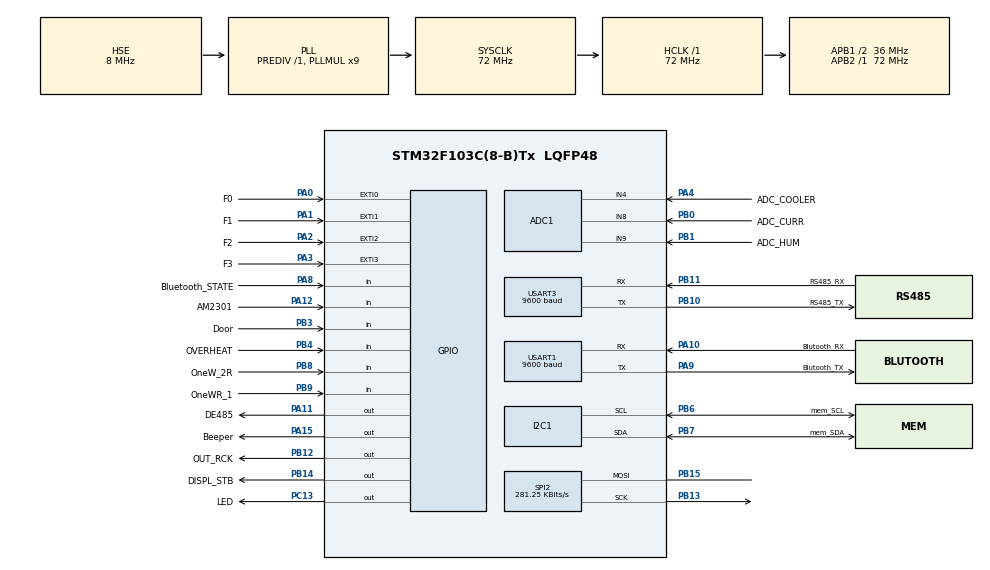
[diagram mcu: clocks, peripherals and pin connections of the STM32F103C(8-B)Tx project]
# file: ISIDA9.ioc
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PA11.GPIO_Speed=GPIO_SPEED_FREQ_MEDIUM
Mcu.Family=STM32F1
NVIC.USART3_IRQn=true\:7\:0\:true\:false\:true\:true\:true
PA2.GPIO_PuPd=GPIO_PULLUP
SPI2.VirtualType=VM_MASTER
PB10.Mode=Asynchronous
PA10.GPIO_PuPd=GPIO_PULLUP
USART1.BaudRate=9600
PB14.GPIO_Label=DISPL_STB
PA3.GPIO_PuPd=GPIO_PULLUP
NVIC.EXTI3_IRQn=true\:0\:0\:true\:false\:true\:true\:true
VP_RTC_VS_RTC_Activate.Mode=RTC_Enabled
PB0.GPIO_Label=ADC_CURR
PB6.GPIO_Label=mem_SCL
PA11.GPIO_PuPd=GPIO_PULLDOWN
PB11.Signal=USART3_RX
PB13.Signal=SPI2_SCK
PB15.Signal=SPI2_MOSI
RCC.SYSCLKSource=RCC_SYSCLKSOURCE_PLLCLK
ProjectManager.StackSize=0x400
PD1-OSC_OUT.Signal=RCC_OSC_OUT
NVIC.RTC_IRQn=true\:0\:0\:false\:false\:true\:true\:true
PA15.GPIO_Label=Beeper
NVIC.EXTI1_IRQn=true\:0\:0\:true\:false\:true\:true\:true
PA12.Signal=GPIO_Input
USART3.BaudRate=9600
ADC1.Channel-5\#ChannelRegularConversion=ADC_CHANNEL_4
ADC1.Channel-3\#ChannelRegularConversion=ADC_CHANNEL_8
RCC.HCLKFreq_Value=72000000
RCC.APB2TimFreq_Value=72000000
TIM3.Period=14
PB6.Signal=I2C1_SCL
Dma.ADC1.0.Direction=DMA_PERIPH_TO_MEMORY
PB12.PinState=GPIO_PIN_RESET
PB6.Mode=I2C
PA1.GPIO_PuPd=GPIO_PULLUP
Dma.ADC1.0.MemDataAlignment=DMA_MDATAALIGN_HALFWORD
RCC.AHBFreq_Value=72000000
SPI2.BaudRatePrescaler=SPI_BAUDRATEPRESCALER_128
RCC.RTCClockSelection=RCC_RTCCLKSOURCE_LSE
RCC.PLLMUL=RCC_PLL_MUL9
PB12.GPIO_Label=OUT_RCK
ADC1.SamplingTime-4\#ChannelRegularConversion=ADC_SAMPLETIME_55CYCLES_5
PB3.GPIO_PuPd=GPIO_PULLUP
PC13-TAMPER-RTC.PinState=GPIO_PIN_SET
PC14-OSC32_IN.Mode=LSE-External-Oscillator
PA14.Mode=Serial_Wire
TIM3.Prescaler=23999
PB1.GPIO_Label=ADC_HUM
Dma.ADC1.0.PeriphInc=DMA_PINC_DISABLE
PA10.GPIO_Label=Blutooth_RX
SH.ADCx_IN8.0=ADC1_IN8,IN8
SPI2.CalculateBaudRate=281.25 KBits/s
PB7.Signal=I2C1_SDA
PA8.Signal=GPIO_Input
TIM4.Period=2999
PC13-TAMPER-RTC.GPIO_Speed=GPIO_SPEED_FREQ_LOW
PB7.GPIO_Label=mem_SDA
Mcu.Package=LQFP48
PB9.Signal=GPIO_Input
PB14.GPIO_PuPd=GPIO_PULLUP
PB1.Signal=ADCx_IN9
SPI2.Mode=SPI_MODE_MASTER
PC13-TAMPER-RTC.GPIO_PuPd=GPIO_NOPULL
PA2.GPIO_Label=F2
PA10.Signal=USART1_RX
PB9.GPIO_PuPd=GPIO_PULLUP
PA15.Signal=GPIO_Output
SH.ADCx_IN9.0=ADC1_IN9,IN9
NVIC.EXTI2_IRQn=true\:0\:0\:true\:false\:true\:true\:true
RCC.APB1TimFreq_Value=72000000
SPI2.Direction=SPI_DIRECTION_1LINE
PB13.Mode=Simplex_Bidirectional_Master
NVIC.USART1_IRQn=true\:6\:0\:true\:false\:true\:true\:true
PA12.GPIO_PuPd=GPIO_PULLUP
Dma.Request0=ADC1
PA4.GPIO_Label=ADC_COOLER
PA1.GPIO_ModeDefaultEXTI=GPIO_MODE_IT_FALLING
VP_TIM3_VS_ClockSourceINT.Mode=Internal
ADC1.Rank-4\#ChannelRegularConversion=2
PB4.Signal=GPIO_Input
PA3.Signal=GPXTI3
PB3.GPIO_Label=Door
RCC.PLLSourceVirtual=RCC_PLLSOURCE_HSE
PC15-OSC32_OUT.Mode=LSE-External-Oscillator
Dma.ADC1.0.Instance=DMA1_Channel1
PD1-OSC_OUT.Mode=HSE-External-Oscillator
PB9.GPIO_Label=OneWR_1
ADC1.Channel-4\#ChannelRegularConversion=ADC_CHANNEL_9
PA10.Mode=Asynchronous
PA9.GPIO_Label=Blutooth_TX
PB8.GPIO_PuPd=GPIO_PULLUP
PB11.GPIO_Label=RS485_RX
PC13-TAMPER-RTC.Signal=GPIO_Output
PA11.GPIO_Label=DE485
PD0-OSC_IN.Signal=RCC_OSC_IN
RCC.APB1CLKDivider=RCC_HCLK_DIV2
PC14-OSC32_IN.Signal=RCC_OSC32_IN
PA0-WKUP.GPIO_ModeDefaultEXTI=GPIO_MODE_IT_FALLING
PA12.GPIO_Label=AM2301
PA0-WKUP.GPIO_Label=F0
PA0-WKUP.Signal=GPXTI0
PA3.GPIO_ModeDefaultEXTI=GPIO_MODE_IT_FALLING
RCC.ADCPresc=RCC_ADCPCLK2_DIV6
PA13.Signal=SYS_JTMS-SWDIO
PB8.GPIO_Label=OneW_2R
Dma.ADC1.0.PeriphDataAlignment=DMA_PDATAALIGN_HALFWORD
PA9.Mode=Asynchronous
PA8.GPIO_Label=Bluetooth_STATE
PB11.Mode=Asynchronous
ProjectManager.TargetToolchain=MDK-ARM V5
PB14.GPIO_Speed=GPIO_SPEED_FREQ_MEDIUM
PB10.GPIO_Label=RS485_TX
Dma.ADC1.0.Mode=DMA_NORMAL
Dma.ADC1.0.Priority=DMA_PRIORITY_LOW
PA9.Signal=USART1_TX
PB4.GPIO_PuPd=GPIO_PULLUP
RCC.USBFreq_Value=72000000
TIM4.Prescaler=23999
PC15-OSC32_OUT.Signal=RCC_OSC32_OUT
PA1.Signal=GPXTI1
PB12.GPIO_Speed=GPIO_SPEED_FREQ_MEDIUM
PD0-OSC_IN.Mode=HSE-External-Oscillator
PB10.Signal=USART3_TX
PB14.Signal=GPIO_Output
board=custom
PC13-TAMPER-RTC.GPIO_Label=LED
PB15.Mode=Simplex_Bidirectional_Master
NVIC.TIM3_IRQn=true\:4\:0\:true\:false\:true\:true\:true
RCC.APB2Freq_Value=72000000
PB4.GPIO_Label=OVERHEAT
PA1.GPIO_Label=F1
SH.ADCx_IN4.0=ADC1_IN4,IN4
ADC1.NbrOfConversion=3
PA13.Mode=Serial_Wire
Mcu.Name=STM32F103C(8-B)Tx
PA2.Signal=GPXTI2
PB3.Signal=GPIO_Input
NVIC.EXTI0_IRQn=true\:0\:0\:false\:false\:true\:true\:true
PA4.Signal=ADCx_IN4
RCC.SYSCLKFreq_VALUE=72000000
ADC1.master=1
ADC1.Rank-3\#ChannelRegularConversion=1
ADC1.SamplingTime-3\#ChannelRegularConversion=ADC_SAMPLETIME_55CYCLES_5
USART3.VirtualMode=VM_ASYNC
SPI2.FirstBit=SPI_FIRSTBIT_LSB
USART1.VirtualMode=VM_ASYNC
PA11.Signal=GPIO_Output
PB7.Mode=I2C
PA14.Signal=SYS_JTCK-SWCLK
Dma.ADC1.0.MemInc=DMA_MINC_ENABLE
ProjectManager.HeapSize=0x200
ADC1.SamplingTime-5\#ChannelRegularConversion=ADC_SAMPLETIME_55CYCLES_5
PA8.GPIO_PuPd=GPIO_PULLDOWN
PA2.GPIO_ModeDefaultEXTI=GPIO_MODE_IT_FALLING
VP_TIM4_VS_ClockSourceINT.Mode=Internal
NVIC.PriorityGroup=NVIC_PRIORITYGROUP_4
ADC1.NbrOfConversionFlag=1
PA15.GPIO_PuPd=GPIO_PULLUP
PB8.Signal=GPIO_Input
PA0-WKUP.GPIO_PuPd=GPIO_PULLUP
NVIC.DMA1_Channel1_IRQn=true\:0\:0\:false\:false\:true\:false\:true
PB12.GPIO_PuPd=GPIO_PULLDOWN
NVIC.TIM4_IRQn=true\:5\:0\:true\:false\:true\:true\:true
PA11.PinState=GPIO_PIN_RESET
RCC.APB1Freq_Value=36000000
PB0.Signal=ADCx_IN8
ADC1.Rank-5\#ChannelRegularConversion=3
PB12.Signal=GPIO_Output
PA3.GPIO_Label=F3

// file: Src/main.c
/* USER CODE BEGIN Header */
/**
  ******************************************************************************
  * @file           : main.c
  * @brief          : Main program body
  ******************************************************************************
  * @attention
  *
  * <h2><center>&copy; Copyright (c) 2019 STMicroelectronics.
  * All rights reserved.</center></h2>
  *
  * This software component is licensed by ST under BSD 3-Clause license,
  * the "License"; You may not use this file except in compliance with the
  * License. You may obtain a copy of the License at:
  *                        opensource.org/licenses/BSD-3-Clause
  *
  ******************************************************************************
  Program Size: Code=43388 RO-data=1844 RW-data=216 ZI-data=3656
  */
/* USER CODE END Header */

#include "main.h"

/* USER CODE BEGIN Includes */
#include <stdlib.h>
#include "proc.h"
#include "module.h"
#include "ds18b20.h"
#include "hih.h"
#include "rtc.h"

//#include "stm32f1xx_hal_adc.h"
/* USER CODE END Includes */

/* USER CODE BEGIN PD */
void bluetoothCallback(void);
/* USER CODE END PD */

ADC_HandleTypeDef hadc1;
DMA_HandleTypeDef hdma_adc1;

I2C_HandleTypeDef hi2c1;

RTC_HandleTypeDef hrtc;

SPI_HandleTypeDef hspi2;

TIM_HandleTypeDef htim3;
TIM_HandleTypeDef htim4;

UART_HandleTypeDef huart1;
UART_HandleTypeDef huart3;

/* USER CODE BEGIN PV */
RTC_TimeTypeDef sTime;
RTC_DateTypeDef sDate;
volatile uint16_t adc[3] = {0,0,0};    // у нас три канала АЦП, поэтому массив из двух элементов
volatile uint8_t flag = 0;             // флаг окончания преобразования АЦП
union Byte fuseOut;
union Byte portOut;
union Byte portFlag;
union d4v crc;
//union d4v file;

extern uint8_t ds18b20_amount, disableBeep, topOwner, topUser, botUser, ok0, ok1, psword, pvAeration;
extern int16_t buf;
extern uint16_t valRun;
extern struct rs485 rs485Data;
extern struct bluetooth bluetoothData;

// -------- ISIDA ------
uint8_t getButton=0, modules=0, setup, servis, waitset, waitkey=WAITCOUNT;
int8_t countsec=-10, countmin, displmode, pouseFuse;
/*
ext[0] модуль Холла
ext[1] модуль ГОРИЗОНТА
ext[2] модуль СО2
ext[3] модуль заслонок
*/
int16_t pwTriac0, pwTriac1, pulsPeriod, beepOn, alarmErr;
uint16_t currAdc, humAdc, coolerAdc, pvCurrent, statPw[2];
uint32_t unixTime;
/* ----------------------------- BEGIN point value -------------------------------------- */
union pointvalue{
  uint8_t pvdata[20];
  struct rampv {
    uint8_t model;       // 1 байт ind=0  модель прибора
    uint8_t node;        // 1 байт ind=1  сетевой номер прибора
    int16_t pvT[MAX_DEVICES]; // 6 байт ind=2-ind=9   значения [MAX_DEVICES=3] датчиков температуры
    uint8_t pvRH;        // 1 байт ind=8  значение датчика относительной влажности
    uint8_t pvCO2;       // 1 байт ind=9  значения датчика CO2 (250*20=5000 / 20*20=400)
    uint8_t nextTurn;    // 1 байт ind=10 значение таймера до начала поворота лотков
    uint8_t fan;         // 1 байт ind=11 скорость вращения тихоходного вентилятора
    uint8_t flap;        // 1 байт ind=12 положение заслонки
    uint8_t power;       // 1 байт ind=13 мощность подаваемая на тены
    uint8_t fuses;       // 1 байт ind=14 короткие замыкания
    uint8_t errors;      // 1 байт ind=15 ошибки
    uint8_t warning;     // 1 байт ind=16 предупреждения
    uint8_t yearMonth;   // 1 байт ind=17 YYMM = 2405
    uint8_t dayHour;     // 1 байт ind=18 DDHH = 2209
    uint8_t minSec;      // 1 байт ind=19 MMSS = 0728
  } pv;// ------------------ ИТОГО 20 bytes -------------------------------
} upv;
struct rampv *p_rampv = &upv.pv;
uint8_t *p_ramdata = upv.pvdata;
/* ----------------------------- BEGIN EEPROM ------------------------------------------- */
union serialdata{
  uint8_t data[EEP_DATA];
  struct eeprom {
    int16_t spT[2];     // 4 байт ind=0-ind=3   Уставка температуры spT[0]->Сухой датчик; spT[1]->Влажный датчик
    //spRH[0]->ПОДСТРОЙКА HIH-5030/AM2301
    //spRH[1]->Уставка влажности Датчик HIH-5030/AM2301 (маска 0111 1111 6,7 бит для разрешения датчика HIH-5030,AM2301);
    int8_t  spRH[2];    // 2 байт ind=4;ind=5
    uint8_t state;      // 1 байт ind=6;        состояние камеры (ОТКЛ. ВКЛ. ОХЛАЖДЕНИЕ, и т.д.)
    uint8_t extendMode; // 1 байт ind=7;        расширенный режим работы  0-СИРЕНА; 1-ВЕНТ. 2-Форс НАГР. 3-Форс ОХЛЖД. 4-Форс ОСУШ. 5-Дубляж увлажнения
    uint8_t relayMode;  // 1 байт ind=8;        релейный режим работы  0-НЕТ; 1->по кан.[0] 2->по кан.[1] 3->по кан.[0]&[1] 4->по кан.[1] импульсный режим
    uint8_t programm;   // 1 байт ind=9;        работа по программе
    uint8_t minRun;     // 1 байт ind=10        импульсное управление насосом увлажнителя
    uint8_t maxRun;     // 1 байт ind=11        импульсное управление насосом увлажнителя
    uint8_t period;     // 1 байт ind=12        импульсное управление насосом увлажнителя
    uint8_t timer[2];   // 2 байт ind=13;ind=14 [0]-отключ.состояниe [1]-включ.состояниe
    uint8_t alarm[2];   // 2 байт ind=15;ind=16 дельта 5 = 0.5 гр.C
    uint8_t extOn[2];   // 2 байт ind=17;ind=18 смещение для ВКЛ. вспомогательного канала
    uint8_t extOff[2];  // 2 байт ind=19;ind=20 смещение для ОТКЛ. вспомогательного канала
    uint8_t air[2];     // 2 байт ind=21;ind=22 таймер проветривания air[0]-пауза; air[1]-работа; если air[1]=0-ОТКЛЮЧЕНО
    uint8_t spCO2;      // 1 байт ind=23;       опорное значение для управления концетрацией СО2
    uint8_t koffCurr;   // 1 байт ind=24;       маштабный коэф. по току симистора  (150 для AC1010)
    uint8_t hysteresis; // 1 байт ind=25;       гистерезис канала увлажнения маска 0x03; разрешение использования HIH-5030 маска 0x40; AM2301 маска 0x80;
    uint8_t zonaFlap;   // 1 байт ind=26;       порог зональности в камере
    uint8_t turnTime;   // 1 байт ind=27;       время ожидания прохода лотков в секундах
    uint8_t waitCooling;// 1 байт ind=28        время ожидания начала режима охлаждения
    uint8_t pkoff[2];   // 2 байт ind=29;ind=30 пропорциональный коэфф.
    uint8_t ikoff[2];   // 2 байт ind=31;ind=32 интегральный коэфф.
    uint8_t identif;    // 1 байт ind=33;       сетевой номер прибора
    uint8_t ip[4];      // 4 байт ind=34;ind=35;ind=36;ind=37; IP MQTT broker [192.168.100.100]
    uint8_t nothing0;   // 1 байт ind=38;       не используется ! YYMM = 2405
    uint8_t nothing1;   // 1 байт ind=39;       не используется ! DDHH = 2209
  } sp;                 // ------------------ ИТОГО 40 bytes -------------------------------
} eep;
struct eeprom *p_eeprom = &eep.sp;
uint8_t *p_eepdata = eep.data;
/* ------------------------------ END EEPROM -------------------------------------------- */
#include "output.h"
#include "displ.h"
void temperature_check(struct rampv *ram);
void am2301_port_init(void);
uint8_t am2301_Start(void);
uint8_t am2301_Read(struct rampv *ram, uint8_t biasHum);
void display(struct eeprom *t, struct rampv *ram);
void display_setup(struct eeprom *t);
void display_servis(struct rampv *ram);
void displ_3(int16_t val, int8_t mode, int8_t blink);
void rotate_trays(uint8_t timer0, uint8_t timer1, struct rampv *ram);
uint8_t sethorizon(uint8_t timer0, uint8_t turnTime, struct rampv *ram);
int8_t chkflap(uint8_t cmd, uint8_t *pvF);
uint8_t readCO2(struct rampv *ram);
//------
void saveservis(struct eeprom *t);
void saveset(struct eeprom *t);
uint8_t reset(uint16_t memAddr, uint8_t *data);
//void checkkey(struct eeprom *t, int16_t pvT0);
void checkkey(struct eeprom *t, struct rampv *ram);
//void pushkey(void);
void chkdoor(struct eeprom *t, struct rampv *ram);
void init(struct eeprom *t, struct rampv *ram);
/* USER CODE END PV */

void SystemClock_Config(void);
static void MX_GPIO_Init(void);
static void MX_DMA_Init(void);
static void MX_I2C1_Init(void);
static void MX_ADC1_Init(void);
static void MX_TIM3_Init(void);
static void MX_TIM4_Init(void);
static void MX_SPI2_Init(void);
static void MX_USART1_UART_Init(void);
static void MX_RTC_Init(void);
static void MX_USART3_UART_Init(void);
/* USER CODE BEGIN PFP */
void rs485Callback(uint8_t *p_ramdata, uint8_t *p_eepdata);
uint8_t SD_write (const char* flname, struct eeprom *t, struct rampv *ram);
uint8_t bluetoothName(uint8_t number);
/* USER CODE END PFP */

/* USER CODE BEGIN 0 */
// Функция обратного вызова обработки прерывания EXTI Line9 External Interrupt
//void HAL_GPIO_EXTI_Callback(uint16_t GPIO_Pin){
//  switch (GPIO_Pin){
//   	case GPIO_PIN_0: upv.pv.fuses |= 0x01; HUMIDI = OFF; break;// PA0 - OUT2 увлажнитель
//   	case GPIO_PIN_1: upv.pv.fuses |= 0x02; FLAP = OFF;   break;// PA1 - OUT3 вентиляция
//   	case GPIO_PIN_2: upv.pv.fuses |= 0x04; EXTRA = OFF;  break;// PA2 - OUT4 вспомогательны канал 2
//   	case GPIO_PIN_3: upv.pv.fuses |= 0x08; TURN = OFF;   break;// PA3 - OUT5 поворот
//   }
//  set_Output();
//}
/* USER CODE END 0 */

int main(void)
{
  /* USER CODE BEGIN 1 */
  int8_t tmpbyte;
  /* USER CODE END 1 */

  /* MCU Configuration--------------------------------------------------------*/

  /* Reset of all peripherals, Initializes the Flash interface and the Systick. */
  HAL_Init();

  /* USER CODE BEGIN Init */
  sysTick_Init();   // устанавливает значение SysTick Reload Register (LOAD) для генерации прерывания каждую миллисекунду (1mS)

  portOut.value = 0;
  portFlag.value = 0;
  topOwner=MAXOWNER;
  topUser=TOPUSER;
  botUser=BOTUSER;
  CHECK = 1;
  /* USER CODE END Init */

  /* Configure the system clock */
  SystemClock_Config();

  /* Initialize all configured peripherals */
  MX_GPIO_Init();
  MX_DMA_Init();
  MX_I2C1_Init();
  MX_ADC1_Init();
  MX_TIM3_Init();
  MX_TIM4_Init();
  MX_SPI2_Init();
  MX_USART1_UART_Init();
  MX_RTC_Init();
  MX_USART3_UART_Init();
  /* USER CODE BEGIN 2 */
  COOLER = 1;     // включить вентилятор
  set_Output();   // запись в микросхему 74HC595D
	HAL_TIM_Base_Start_IT(&htim4);	/* ------  таймер 1Гц.   период 1000 мс.  ----*/
	HAL_TIM_Base_Start_IT(&htim3);	/* ------  таймер 200Гц.  период 5 мс.  --таймер 10Гц.  период 100 мс.--*/
  HAL_ADCEx_Calibration_Start(&hadc1);            // калибровкa АЦП
  HAL_UART_Receive_IT(&huart1,(uint8_t*)bluetoothData.RXBuffer,2);
  HAL_GPIO_WritePin(LED_GPIO_Port, LED_Pin, GPIO_PIN_SET);  // LED Off
  //--------- ХОЛОСТОЕ ВЫПОЛНЕНИЕ при котором каналы распологаются правильно --------
//  HAL_ADC_Start_DMA(&hadc1, (uint32_t*)&adc, 3);  // стартуем АЦП
//  while(flag==0);
//  flag = 0;
  //----------- Теперь каналы сдвинуты. Последний стал первым -----------------------
  HAL_ADC_Start_DMA(&hadc1, (uint32_t*)&adc, 3);  // стартуем АЦП
  while(flag==0);
  flag = 0;
  currAdc = adc[0]; humAdc = adc[1]; coolerAdc = adc[2];
  adc[0] = 0; adc[1] = 0;
  //******************************************************************************
  HAL_RTC_WaitForSynchro(&hrtc);                      // Після увімкнення, пробудження, скидання, потрібно викликати цю функцію
  if(HAL_RTCEx_BKUPRead(&hrtc,RTC_BKP_DR1) == 0){     // Перевіряємо чи дата вже була збережена чи ні
   // як ні, то задамо якусь початкову дату і час
    setDataAndTime(24,RTC_MONTH_JUNE,0x01,RTC_WEEKDAY_SATURDAY,0,0,0,RTC_FORMAT_BIN);//2024,RTC_MONTH_JUNE,01,RTC_WEEKDAY_SATURDAY  00:00:00
    writeDateToBackup(RTC_BKP_DR1);       // і запишемо до backup регістрів дату
  }
  else {
    readBackupToDate(RTC_BKP_DR1);        // выполним коррекцию даты
    writeDateToBackup(RTC_BKP_DR1);       // сохраним обновленную дату
  }
  HAL_RTCEx_SetSecond_IT(&hrtc);          // Sets Interrupt for second
  HAL_RTC_GetTime(&hrtc, &sTime, RTC_FORMAT_BIN);
  HAL_RTC_GetDate(&hrtc, &sDate, RTC_FORMAT_BIN);
  //******************************************************************************
  for(int8_t i=0;i<8;i++) {setChar(i,SIMBL_BL); PointOn(i); LedOn(i,3);}// "BL"+точки
  SendDataTM1638();
  SendCmdTM1638(0x8F);  // Transmit the display control command to set maximum brightness (8FH)
  //---- проверка EEPROM ---------------
  tmpbyte = eep_read(0x0000, eep.data);
  if(tmpbyte){              // бесконечный цикл НЕИСПРАВНА EEPROM "EEP-x" (HAL_ERROR=0x01U, HAL_BUSY=0x02U, HAL_TIMEOUT=0x03U)
      while(1){
          HAL_GPIO_WritePin(Beeper_GPIO_Port, Beeper_Pin, GPIO_PIN_SET);    // Beeper On
          HAL_Delay(200);
          HAL_GPIO_WritePin(Beeper_GPIO_Port, Beeper_Pin, GPIO_PIN_RESET);  // Beeper Off
          HAL_Delay(200);
      }
  }
  // *** -------- сброс к заводским настройкам ------------- ***
  if(eep.sp.identif>63) eep.sp.identif = 0;
  if (eep.sp.identif == 0) eep_initial(0x0000, eep.data);

  init(&eep.sp, &upv.pv);   // инициализация аппаратной части и подключаемых модулей
  temperature_check(&upv.pv);
  upv.pv.pvT[0] = eep.sp.spT[0]-10;//?????????????????????????????????????????????????????
  upv.pv.pvT[1] = eep.sp.spT[1]-10;//?????????????????????????????????????????????????????
  crc.data[2] = 0x0D; crc.data[3] = 0x0A; // "[0x0D]->\r=<CR>; [0x0A]->\n=<LF>"
  /* USER CODE END 2 */

  /* Infinite loop */
  /* USER CODE BEGIN WHILE */
  getButton = waitkey/4;
  upv.pv.fuses = fuseOut.value = 0;
	while (1){
  //----------------------------------- Теперь будем опрашивать три канала на одном АЦП с помощью DMA… -------------------------------------------

  /*** ------------------------------------------- BEGIN таймер TIM3 6 Гц. ----------------------------------------------------------------------- ***/
      if (getButton>waitkey/4) checkkey(&eep.sp, &upv.pv);  // клавиатура waitkey=WAITCOUNT=16 максимальная пауза перед реакцией на кнопку

  /*** ------------------------------------------- BEGIN таймер TIM4 1 Гц. ----------------------------------------------------------------------- ***/
      if(CHECK){   // ------- новая секунда --------------------------------------------------------------
        CHECK=0; DISPLAY=1; ALARM=0; upv.pv.errors=0; upv.pv.warning=0;
//        if(upv.pv.fuses){
//          if(++pouseFuse>2){pouseFuse = upv.pv.fuses = fuseOut.value = 0;}
//        }
        HAL_ADC_Start_DMA(&hadc1, (uint32_t*)&adc, 3);
        while(flag==0);
        flag = 0;
        currAdc = adcTomV(adc[0]);      // Channel 8 (Port B0) в мВ.
        humAdc  = adcTomV(adc[1]);      // Channel 9 (Port B1) в мВ.
//        if(HIH5030) humAdc  = adcTomV(adc[1]);// Channel 9 (Port B1) в мВ.
        coolerAdc = adcTomV(adc[2]/10); // Channel 4 (Port A4) в 1550мВ./10 = 155 единиц

        adc[0] = 0; adc[1] = 0; adc[2] = 0;

    //-------------------- перевіримо чи настав інший день ------------
        if (((sTime.Hours+sTime.Minutes+sTime.Seconds)<=4)){
          writeDateToBackup(RTC_BKP_DR1);             // сохраним обновленную дату
        }
    //-------------------- температура и влажность --------------------

//        temperature_check(&upv.pv);
        if(AM2301) am2301_Read(&upv.pv, eep.sp.spRH[0]);
        else if(HIH5030){
           if(humAdc > 500){                                                // humAdc = 500 mV для RH=0%
              upv.pv.pvRH = mVToRH(humAdc, eep.sp.spRH[0], upv.pv.pvT[0]);  // расчет относительной влажности % (мВ.,коррекция,температура)
           }
           else upv.pv.pvRH = 200;
        }
        else upv.pv.pvRH = 0;
    //-------------------- Состояние дверей; "подгототка к ОХЛАЖДЕНИЮ"; "подгототка к ВКЛЮЧЕНИЮ" --
        chkdoor(&eep.sp, &upv.pv);
        if((eep.sp.state&0x18)==0x08) eep.sp.state|= sethorizon(eep.sp.timer[0], eep.sp.turnTime, &upv.pv);  // Установка в горизонтальное положение
    //-------------------- Опрос модулей расширения -------------------
        if(modules&1) {
          tmpbyte = chkcooler(eep.sp.state);
          if(tmpbyte<0) upv.pv.errors |= 0x40;        // Отказ модуля Холла
          else if(tmpbyte>0) upv.pv.warning |= 0x20;  // ОСТАНОВ тихоходного вентилятора
        }
        if(modules&2) {
          tmpbyte = chkhorizon(eep.sp.state);
          if(tmpbyte<0) upv.pv.errors |= 0x40; // Отказ модуля ГОРИЗОНТ
          else if(tmpbyte>0) upv.pv.warning |= 0x40;  // НЕТ ПОВОРОТА лотков
        }
        if(modules&4) {
          tmpbyte = readCO2(&upv.pv);
          if(tmpbyte<0) upv.pv.errors |= 0x20;        // Отказ модуля CO2
        }
        if(modules&8) {
          tmpbyte = chkflap(0,&upv.pv.flap);
          if(tmpbyte<0) upv.pv.errors |= 0x20;        // Отказ модуля заслонок
        }
    //-------------------- КАМЕРА ВКЛЮЧЕНА в работу -------------------
        if (eep.sp.state&1){
      // ---------------------- НАГРЕВАТЕЛЬ --------------------------------
          if(HAL_GPIO_ReadPin(OVERHEAT_GPIO_Port, OVERHEAT_Pin)==GPIO_PIN_RESET) upv.pv.errors |= 0x10;  // ПЕРЕГРЕВ СИМИСТОРА !!!
          else if((upv.pv.warning&0x20)==0){    // НЕТ ОСТАНОВА тихоходного вентилятора !!!
            if(upv.pv.pvT[0] < 850){
              int16_t err = eep.sp.spT[0] - upv.pv.pvT[0];
              if(heatCondition(err, eep.sp.alarm[0])) upv.pv.warning |= 0x01;  // ОТКЛОНЕНИЕ по температуре
              pwTriac0 = heater(err, &eep.sp);
              if(pwTriac0) {HEATER = 1; /*set_Pulse(250);*/}  // HEATER On  32 mks
            }
            else upv.pv.errors |= 0x01;   // ОШИБКА ДАТЧИКА температуры !!!
          }
          upv.pv.power = pwTriac0 / 2;
          if(upv.pv.power > 100) upv.pv.power = 100;
          statPw[0] += upv.pv.power;      // расчет эконометра
      // ---------------------- УВЛАЖНИТЕЛЬ --------------------------------
          if(ok0&1){  // запрещение УВЛАЖНЕНИЯ при РАЗОГРЕВЕ и ПЕРЕОХЛАЖДЕНИИ
            int16_t err;
            if(HIH5030||AM2301){  // подключен электронный датчик влажности
              err = eep.sp.spRH[1] - upv.pv.pvRH;
              pwTriac1 = humidifier(err, &eep.sp);
            }
            else {
              if(upv.pv.pvT[1] < 850){
              err = eep.sp.spT[1] - upv.pv.pvT[1];
              pwTriac1 = humidifier(err, &eep.sp);
              }
              else {upv.pv.errors |= 0x02; pwTriac1 = 0;}   // ОШИБКА ДАТЧИКА влажности !!!
            }
            if(humCondition(err, eep.sp.alarm[1])) upv.pv.warning |= 0x02; // ОТКЛОНЕНИЕ по влажности
            if(pwTriac1 && FUSE0==0) HUMIDI = 1;  // HUMIDIFIER On
            tmpbyte = pwTriac1 / 2;
            if(tmpbyte > 100) tmpbyte = 100;
            statPw[1] += tmpbyte;         // расчет эконометра
          }
      // ---------------------- ОХЛАЖДЕНИЕ ---------------------------------
          if(upv.pv.warning&0x20) tmpbyte = ON;     // ОСТАНОВ тихоходного вентилятора
          else {
            if(upv.pv.pvT[0] < 850){
              int16_t err = upv.pv.pvT[0] - eep.sp.spT[0];
              if(err>=eep.sp.extOff[0]) tmpbyte = ON; else if(err<=0) tmpbyte = OFF; // при err >=0.2грд. -> ON; при err <=0грд. -> OFF;
            }
            else upv.pv.errors |= 0x01;             // ОШИБКА ДАТЧИКА температуры! (код 51, 53)
          }
          if(FUSE1&0x02) tmpbyte = OFF;      // ПРЕДОХРАНИТЕЛЬ доп. канал №1
          switch (tmpbyte){
            case ON:  FLAP = ON;  upv.pv.flap = eep.sp.zonaFlap&0x3F+37;  if(modules&8) chkflap(SETFLAP,  &upv.pv.flap); break;// установка заслонки zonaFlap&0x3F=63+37=100%
            case OFF: FLAP = OFF; upv.pv.flap = FLAPCLOSE; if(modules&8) chkflap(DATAREAD, &upv.pv.flap); break;// установка заслонки; сброс флага запрещения принудительной подачи воды
          }
      //----------------------- ЗОНАЛЬНОСТЬ температуры камеры -------------
          if(ok0){
            uint8_t zonality;
            zonality = eep.sp.zonaFlap>>6;
            if(HIH5030||AM2301) {if(ds18b20_amount>1) {if(abs(upv.pv.pvT[0]-upv.pv.pvT[1])>zonality) upv.pv.warning |=0x08;}} // Большой перепад температур. (код 30)
            else {if(ds18b20_amount>2) {if(abs(upv.pv.pvT[0]-upv.pv.pvT[2])>zonality) upv.pv.warning |=0x08;}};// Большой перепад температур. (код 30)
          }
          if(!(HIH5030||AM2301) && (upv.pv.pvT[1]-upv.pv.pvT[0])>20){
            if(upv.pv.pvT[1] < 850){
              upv.pv.warning =0x10;               // Неправильная конфигурация датчиков! (код 38, 40)
              pwTriac0 = 100; upv.pv.power = 50;  // Мощность ограничена 50%
            }
            else upv.pv.errors |= 0x02;           // ОШИБКА ДАТЧИКА влажности! (код 52, 53)
          }
      //----------------------- ПОВОРОТ ЛОТКОВ Статистика камеры -----------
          if(eep.sp.koffCurr){
          // конверсия mV в mA ->100mV/1A+1.65V. (5A->0.5+1.65=2.15; 10A->2.65; 20A->3.65) добавляем делитель 110k/68k на 2,65 и получаем 10А = 1В = 1000 мВ
            pvCurrent = currAdc/10 * eep.sp.koffCurr; pvCurrent /= 100;
            if(upv.pv.power==100 && countsec>=0 && currAdc<100) upv.pv.errors|=0x08;  // если ток < 1,0 А. -> НЕИСПРАВНА цепь НАГРЕВАТЕЛЯ
          }
          else currAdc = 0;
          // АНАЛИЗ УХУДШЕНИЯ АВАРИЙНОЙ СИТУАЦИИ (важно в этом месте после анализа мощности)
          int16_t newErr = abs(eep.sp.spT[0]-upv.pv.pvT[0]);
          if((upv.pv.warning & 3)&&(newErr-alarmErr)>2) disableBeep=0;  // если при блокироке сирены продолжает увеличиватся ошибка сброс блокировки
          if(countsec>59){
            ++countmin; countsec=0; if (disableBeep) disableBeep--;
            if(!(eep.sp.state&0x18)) rotate_trays(eep.sp.timer[0], eep.sp.timer[1], &upv.pv);   // выполняется только если Камера ВКЛ.
            if(upv.pv.pvCO2>0) CO2_check(eep.sp.spCO2, eep.sp.spCO2, upv.pv.pvCO2);             // Проверка концентрации СО2
            else if(eep.sp.air[1]>0) aeration_check(eep.sp.air[0], eep.sp.air[1]);              // Проветривание выполняется только если air[1]>0
            statPw[0]/=60; statPw[1]/=60;     // расчет затрат ресурсов
//              upv.pv.cost0=statF2(0, statPw[0]); upv.pv.cost1=statF2(1, statPw[1]); // расчет затрат ресурсов
            statPw[0]=0; statPw[1]=0;         // расчет затрат ресурсов
            if(countmin>59){
              countmin = 0; /*upv.pv.date = sDate.Date; upv.pv.hours = sTime.Hours;*/
//                eep.sp.EnergyMeter += (summPower/100);// суммируем в Вт.
//              EEPSAVE=1; waitset=1;
            }
          }
      // ---------------------- ВСПОМОГАТЕЛЬНЫЙ ----------------------------
          tmpbyte = extra_2(&eep.sp, &upv.pv);
          if(FUSE2&0x04) tmpbyte = OFF;      // ПРЕДОХРАНИТЕЛЬ доп. канал №2
          switch (tmpbyte){
              case ON:  EXTRA = ON;  break;
              case OFF: EXTRA = OFF; break;
          }
        }
    //--------------------- КАМЕРА ОТКЛЮЧЕНА ---------------------------
        else if((eep.sp.state&7)==0){
            if(eep.sp.relayMode==4) valRun = 0;                                         // ОТКЛЮЧИТЬ импульсное управление увлажнителем
            if(servis){                                                                 // включен СЕРВИСНЫЙ режим
              switch (servis){
                 case 1: pwTriac0=MAXPULS; portOut.value = 0x01; break;                 // НАГРЕВАТЕЛЬ
                 case 2: pwTriac1=MAXPULS; portOut.value = 0x02; break;                 // УВЛАЖНИТЕЛЬ
                 case 3: portOut.value = 0x04; upv.pv.flap = eep.sp.zonaFlap&0x3F+37;   //zonaFlap&0x3F=63+37=100%
                         if(modules&8) chkflap(SETFLAP, &upv.pv.flap); break;           // ПРОВЕТРИВАНИЕ, СЕРВОПРИВОД 90грд.
                 case 4: portOut.value = 0x08; break;                                   // ДОПОЛНИТЕЛЬНЫЙ КАНАЛ
                 case 5: portOut.value = 0x10; break;                                   // ЛОТКИ ВВЕРХ
                 default: portOut.value = 0; upv.pv.flap=FLAPCLOSE;
                          if(modules&8) chkflap(DATAREAD, &upv.pv.flap);// ВСЕ ОТКЛЮЧЕНО, СЕРВОПРИВОД 0грд.
              }
            }
            else {
               upv.pv.power=OFF; portOut.value &= 0x10; upv.pv.flap=FLAPCLOSE; if(modules&8) chkflap(DATAREAD, &upv.pv.flap); VENTIL = OFF;
               if(currAdc>1000){upv.pv.errors|=0x04;}   // если сила тока > 1000 mV ПРОБОЙ СИМИСТОРА!
               if(countsec>59){
                countsec=0;
                if(eep.sp.state&0x80) rotate_trays(eep.sp.timer[0], eep.sp.timer[1], &upv.pv); // Поворот лотков при ОТКЛЮЧЕННОЙ камере
               }
            }
        }
    //--------------------- если нужно сохраняем установки -------------
        if(waitset){
          if(--waitset==0){
            if(EEPSAVE){
              eep_write(0x0000, eep.data, EEP_DATA);    // запись в энергонезависимую память
            }
            if(servis==7){upv.pv.node = eep.sp.identif; bluetoothName(eep.sp.identif);}   // коррекция Broadcast name
            servis=0;setup=0;displmode=0;psword=0;buf=0;topUser=TOPUSER;botUser=BOTUSER;} // возвращяемся к основному экрану, сброс пароля
        }
        if(TURN && eep.sp.timer[1]){if(--upv.pv.nextTurn==0) { upv.pv.nextTurn=eep.sp.timer[0]; TURN = OFF;}} // только при sp[1].timer>0 -> асиметричный режим

          unixTime = timestamp(); //  персчет в unixTime
    // -------------------- Bluetooth ----------------------------------
        if(HAL_GPIO_ReadPin(Bluetooth_STATE_GPIO_Port, Bluetooth_STATE_Pin)){ // если есть подключение по Bluetooth
          crc.val[0] = 0;
          for(uint8_t i=0;i<20;i++){
            crc.val[0] += upv.pvdata[i];
            crc.val[0] ^= (crc.val[0]>>2);
          }
          for(uint8_t i=0;i<40;i++){
            crc.val[0] += eep.data[i];
            crc.val[0] ^= (crc.val[0]>>2);
          }
          HAL_UART_Transmit(&huart1,(uint8_t*)upv.pvdata,20,0x1000);// отправка upv
          HAL_UART_Transmit(&huart1,(uint8_t*)eep.data,40,0x1000);  // отправка eep
          HAL_UART_Transmit(&huart1,(uint8_t*)crc.data,4,0x1000);   // отправка crc, "\r=<CR>, \n=<LF>"
        }
      }
  /*** ============================================= END таймер TIM4 1 Гц. ==================================================================== ***/

  /*** --------------------------------------------------- ИНДИКАЦИЯ -------------------------------------------------------------------------- ***/
      if(DISPLAY){
        DISPLAY = 0;
        upv.pv.fuses = fuseOut.value;
        if(setup) display_setup(&eep.sp);
        else if(servis) display_servis(&upv.pv);
        else display(&eep.sp, &upv.pv);
        ledOut(eep.sp.state, upv.pv.warning, upv.pv.fuses, eep.sp.programm); SendDataTM1638(); set_Output(); // запись в микросхемы TM1638 и 74HC595D
      }
  /*** ======================================================================================================================================== ***/
    /* USER CODE END WHILE */

    /* USER CODE BEGIN 3 */
      if(coolerAdc < 250) COOLER=0; else if(coolerAdc > 300) COOLER = 1;  // температура 40С = 2,50V; 55C = 3.0V
      if(pwTriac0 < 0) {pwTriac0=0; HEATER = 0; ALLOFF = 1; /*set_Pulse(500);*/}  // HEATER Off  64 mks // ALLOFF = 1 для быстрого отключения светодиодов pwTriac0
      if(pwTriac1 < 0) {pwTriac1=0; HUMIDI = 0; ALLOFF = 1;}  // HUMIDIFIER Off // ALLOFF = 1 для быстрого отключения светодиодов pwTriac1
      if(eep.sp.relayMode==4){                                 // импульсный режим работы насоса
        if(pulsPeriod < 0){
          pulsPeriod = eep.sp.period;
          if(pwTriac1 && (upv.pv.fuses&0x01)==0) {pwTriac1=valRun; HUMIDI = 1; ALLOFF = 1;}  // HUMIDIFIER On // ALLOFF = 1 для быстрого отключения светодиодов pwTriac1
        }
      }
      // ALLOFF = 1 для быстрого отключения светодиодов pwTriac0, pwTriac1
      if(ALLOFF) {set_Output(); ALLOFF = 0; ledOut(eep.sp.state, upv.pv.warning, upv.pv.fuses, eep.sp.programm); SendDataTM1638();}  // запись в микросхемы TM1638 и 74HC595D
      if(beepOn < 0) {beepOn=0; HAL_GPIO_WritePin(Beeper_GPIO_Port, Beeper_Pin, GPIO_PIN_RESET);}  // Beeper Off
  /* ------------------------------------------------------------------------------------------------------------------ */
      if(bluetoothData.ind == 0){
        bluetoothData.timeOut=0;
        HAL_UART_Receive_IT(&huart1,(uint8_t*)bluetoothData.RXBuffer,2); // запуск приема (100 байт при 9600 b/s Время передачи данных 0,1 сек.)
      }
      else if(bluetoothData.timeOut > 5) {
        // ошибка таймаута больше 500 mS.
        HAL_UART_AbortReceive_IT(&huart1); // остановка приема (https://www.translatorscafe.com/unit-converter/ru-RU/calculator/data-transfer-time/)
        bluetoothData.ind = 0; // признак ожидание первого байта
        bluetoothData.timeOut = 0;
      }
  // ---------------------------- RS485 -----------------------------
      if(rs485Data.timeOut > 40){ // 200 mS
        rs485Data.ind = 0; // признак ожидание первого байта
        rs485Data.timeOut=0;
        HAL_UART_Receive_IT(&huart3,(uint8_t*)rs485Data.RXBuffer,16); // запуск приема 16 byte (96 байт при 9600 b/s Время передачи данных 0,101 сек.)
      }
  /* ================================================================================================================== */

      if(bluetoothData.ind == 0){
        bluetoothData.timeOut=0;
        HAL_UART_Receive_IT(&huart1,(uint8_t*)bluetoothData.RXBuffer,2); // запуск приема
      }
      else if(bluetoothData.timeOut >= 10) {
        // ошибка таймаута больше 10 mS.
        HAL_UART_AbortReceive_IT(&huart1); // остановка приема
        bluetoothData.ind = 0; // признак ожидание первого байта
        bluetoothData.timeOut = 0;
//        HAL_UART_Receive_IT(&huart1,(uint8_t*)bluetoothData.RXBuffer,2); // запуск приема
      }
	} // ---------------------------------- END while (1) ------------------------------------------------------------------------------------------
  /* USER CODE END 3 */
}

void SystemClock_Config(void)
{
  RCC_OscInitTypeDef RCC_OscInitStruct = {0};
  RCC_ClkInitTypeDef RCC_ClkInitStruct = {0};
  RCC_PeriphCLKInitTypeDef PeriphClkInit = {0};

  /** Initializes the CPU, AHB and APB busses clocks
  */
  RCC_OscInitStruct.OscillatorType = RCC_OSCILLATORTYPE_HSE|RCC_OSCILLATORTYPE_LSE;
  RCC_OscInitStruct.HSEState = RCC_HSE_ON;
  RCC_OscInitStruct.HSEPredivValue = RCC_HSE_PREDIV_DIV1;
  RCC_OscInitStruct.LSEState = RCC_LSE_ON;
  RCC_OscInitStruct.HSIState = RCC_HSI_ON;
  RCC_OscInitStruct.PLL.PLLState = RCC_PLL_ON;
  RCC_OscInitStruct.PLL.PLLSource = RCC_PLLSOURCE_HSE;
  RCC_OscInitStruct.PLL.PLLMUL = RCC_PLL_MUL9;
  if (HAL_RCC_OscConfig(&RCC_OscInitStruct) != HAL_OK)
  {
    Error_Handler();
  }
  /** Initializes the CPU, AHB and APB busses clocks
  */
  RCC_ClkInitStruct.ClockType = RCC_CLOCKTYPE_HCLK|RCC_CLOCKTYPE_SYSCLK
                              |RCC_CLOCKTYPE_PCLK1|RCC_CLOCKTYPE_PCLK2;
  RCC_ClkInitStruct.SYSCLKSource = RCC_SYSCLKSOURCE_PLLCLK;
  RCC_ClkInitStruct.AHBCLKDivider = RCC_SYSCLK_DIV1;
  RCC_ClkInitStruct.APB1CLKDivider = RCC_HCLK_DIV2;
  RCC_ClkInitStruct.APB2CLKDivider = RCC_HCLK_DIV1;

  if (HAL_RCC_ClockConfig(&RCC_ClkInitStruct, FLASH_LATENCY_2) != HAL_OK)
  {
    Error_Handler();
  }
  PeriphClkInit.PeriphClockSelection = RCC_PERIPHCLK_RTC|RCC_PERIPHCLK_ADC;
  PeriphClkInit.RTCClockSelection = RCC_RTCCLKSOURCE_LSE;
  PeriphClkInit.AdcClockSelection = RCC_ADCPCLK2_DIV6;
  if (HAL_RCCEx_PeriphCLKConfig(&PeriphClkInit) != HAL_OK)
  {
    Error_Handler();
  }
}

static void MX_ADC1_Init(void)
{

  ADC_ChannelConfTypeDef sConfig = {0};

  /** Common config
  */
  hadc1.Instance = ADC1;
  hadc1.Init.ScanConvMode = ADC_SCAN_ENABLE;
  hadc1.Init.ContinuousConvMode = DISABLE;
  hadc1.Init.DiscontinuousConvMode = DISABLE;
  hadc1.Init.ExternalTrigConv = ADC_SOFTWARE_START;
  hadc1.Init.DataAlign = ADC_DATAALIGN_RIGHT;
  hadc1.Init.NbrOfConversion = 3;
  if (HAL_ADC_Init(&hadc1) != HAL_OK)
  {
    Error_Handler();
  }
  /** Configure Regular Channel
  */
  sConfig.Channel = ADC_CHANNEL_8;
  sConfig.Rank = ADC_REGULAR_RANK_1;
  sConfig.SamplingTime = ADC_SAMPLETIME_55CYCLES_5;
  if (HAL_ADC_ConfigChannel(&hadc1, &sConfig) != HAL_OK)
  {
    Error_Handler();
  }
  /** Configure Regular Channel
  */
  sConfig.Channel = ADC_CHANNEL_9;
  sConfig.Rank = ADC_REGULAR_RANK_2;
  if (HAL_ADC_ConfigChannel(&hadc1, &sConfig) != HAL_OK)
  {
    Error_Handler();
  }
  /** Configure Regular Channel
  */
  sConfig.Channel = ADC_CHANNEL_4;
  sConfig.Rank = ADC_REGULAR_RANK_3;
  if (HAL_ADC_ConfigChannel(&hadc1, &sConfig) != HAL_OK)
  {
    Error_Handler();
  }

}

static void MX_I2C1_Init(void)
{

  hi2c1.Instance = I2C1;
  hi2c1.Init.ClockSpeed = 100000;
  hi2c1.Init.DutyCycle = I2C_DUTYCYCLE_2;
  hi2c1.Init.OwnAddress1 = 0;
  hi2c1.Init.AddressingMode = I2C_ADDRESSINGMODE_7BIT;
  hi2c1.Init.DualAddressMode = I2C_DUALADDRESS_DISABLE;
  hi2c1.Init.OwnAddress2 = 0;
  hi2c1.Init.GeneralCallMode = I2C_GENERALCALL_DISABLE;
  hi2c1.Init.NoStretchMode = I2C_NOSTRETCH_DISABLE;
  if (HAL_I2C_Init(&hi2c1) != HAL_OK)
  {
    Error_Handler();
  }

}

static void MX_RTC_Init(void)
{

  /** Initialize RTC Only
  */
  hrtc.Instance = RTC;
  hrtc.Init.AsynchPrediv = RTC_AUTO_1_SECOND;
  hrtc.Init.OutPut = RTC_OUTPUTSOURCE_ALARM;
  if (HAL_RTC_Init(&hrtc) != HAL_OK)
  {
    Error_Handler();
  }

}

static void MX_SPI2_Init(void)
{

  /* SPI2 parameter configuration*/
  hspi2.Instance = SPI2;
  hspi2.Init.Mode = SPI_MODE_MASTER;
  hspi2.Init.Direction = SPI_DIRECTION_1LINE;
  hspi2.Init.DataSize = SPI_DATASIZE_8BIT;
  hspi2.Init.CLKPolarity = SPI_POLARITY_LOW;
  hspi2.Init.CLKPhase = SPI_PHASE_1EDGE;
  hspi2.Init.NSS = SPI_NSS_SOFT;
  hspi2.Init.BaudRatePrescaler = SPI_BAUDRATEPRESCALER_128;
  hspi2.Init.FirstBit = SPI_FIRSTBIT_LSB;
  hspi2.Init.TIMode = SPI_TIMODE_DISABLE;
  hspi2.Init.CRCCalculation = SPI_CRCCALCULATION_DISABLE;
  hspi2.Init.CRCPolynomial = 10;
  if (HAL_SPI_Init(&hspi2) != HAL_OK)
  {
    Error_Handler();
  }

}

static void MX_TIM3_Init(void)
{

  TIM_ClockConfigTypeDef sClockSourceConfig = {0};
  TIM_MasterConfigTypeDef sMasterConfig = {0};

  htim3.Instance = TIM3;
  htim3.Init.Prescaler = 23999;
  htim3.Init.CounterMode = TIM_COUNTERMODE_UP;
  htim3.Init.Period = 14;
  htim3.Init.ClockDivision = TIM_CLOCKDIVISION_DIV1;
  htim3.Init.AutoReloadPreload = TIM_AUTORELOAD_PRELOAD_DISABLE;
  if (HAL_TIM_Base_Init(&htim3) != HAL_OK)
  {
    Error_Handler();
  }
  sClockSourceConfig.ClockSource = TIM_CLOCKSOURCE_INTERNAL;
  if (HAL_TIM_ConfigClockSource(&htim3, &sClockSourceConfig) != HAL_OK)
  {
    Error_Handler();
  }
  sMasterConfig.MasterOutputTrigger = TIM_TRGO_RESET;
  sMasterConfig.MasterSlaveMode = TIM_MASTERSLAVEMODE_DISABLE;
  if (HAL_TIMEx_MasterConfigSynchronization(&htim3, &sMasterConfig) != HAL_OK)
  {
    Error_Handler();
  }

}

static void MX_TIM4_Init(void)
{

  TIM_ClockConfigTypeDef sClockSourceConfig = {0};
  TIM_MasterConfigTypeDef sMasterConfig = {0};

  htim4.Instance = TIM4;
  htim4.Init.Prescaler = 23999;
  htim4.Init.CounterMode = TIM_COUNTERMODE_UP;
  htim4.Init.Period = 2999;
  htim4.Init.ClockDivision = TIM_CLOCKDIVISION_DIV1;
  htim4.Init.AutoReloadPreload = TIM_AUTORELOAD_PRELOAD_DISABLE;
  if (HAL_TIM_Base_Init(&htim4) != HAL_OK)
  {
    Error_Handler();
  }
  sClockSourceConfig.ClockSource = TIM_CLOCKSOURCE_INTERNAL;
  if (HAL_TIM_ConfigClockSource(&htim4, &sClockSourceConfig) != HAL_OK)
  {
    Error_Handler();
  }
  sMasterConfig.MasterOutputTrigger = TIM_TRGO_RESET;
  sMasterConfig.MasterSlaveMode = TIM_MASTERSLAVEMODE_DISABLE;
  if (HAL_TIMEx_MasterConfigSynchronization(&htim4, &sMasterConfig) != HAL_OK)
  {
    Error_Handler();
  }

}

static void MX_USART1_UART_Init(void)
{

  huart1.Instance = USART1;
  huart1.Init.BaudRate = 9600;
  huart1.Init.WordLength = UART_WORDLENGTH_8B;
  huart1.Init.StopBits = UART_STOPBITS_1;
  huart1.Init.Parity = UART_PARITY_NONE;
  huart1.Init.Mode = UART_MODE_TX_RX;
  huart1.Init.HwFlowCtl = UART_HWCONTROL_NONE;
  huart1.Init.OverSampling = UART_OVERSAMPLING_16;
  if (HAL_UART_Init(&huart1) != HAL_OK)
  {
    Error_Handler();
  }

}

static void MX_USART3_UART_Init(void)
{

  huart3.Instance = USART3;
  huart3.Init.BaudRate = 9600;
  huart3.Init.WordLength = UART_WORDLENGTH_8B;
  huart3.Init.StopBits = UART_STOPBITS_1;
  huart3.Init.Parity = UART_PARITY_NONE;
  huart3.Init.Mode = UART_MODE_TX_RX;
  huart3.Init.HwFlowCtl = UART_HWCONTROL_NONE;
  huart3.Init.OverSampling = UART_OVERSAMPLING_16;
  if (HAL_UART_Init(&huart3) != HAL_OK)
  {
    Error_Handler();
  }

}

static void MX_DMA_Init(void)
{

  /* DMA controller clock enable */
  __HAL_RCC_DMA1_CLK_ENABLE();

  /* DMA interrupt init */
  /* DMA1_Channel1_IRQn interrupt configuration */
  HAL_NVIC_SetPriority(DMA1_Channel1_IRQn, 0, 0);
  HAL_NVIC_EnableIRQ(DMA1_Channel1_IRQn);

}

static void MX_GPIO_Init(void)
{
  GPIO_InitTypeDef GPIO_InitStruct = {0};

  /* GPIO Ports Clock Enable */
  __HAL_RCC_GPIOC_CLK_ENABLE();
  __HAL_RCC_GPIOD_CLK_ENABLE();
  __HAL_RCC_GPIOA_CLK_ENABLE();
  __HAL_RCC_GPIOB_CLK_ENABLE();

  /*Configure GPIO pin Output Level */
  HAL_GPIO_WritePin(LED_GPIO_Port, LED_Pin, GPIO_PIN_SET);

  /*Configure GPIO pin Output Level */
  HAL_GPIO_WritePin(GPIOB, OUT_RCK_Pin|DISPL_STB_Pin, GPIO_PIN_RESET);

  /*Configure GPIO pin Output Level */
  HAL_GPIO_WritePin(GPIOA, DE485_Pin|Beeper_Pin, GPIO_PIN_RESET);

  /*Configure GPIO pin : LED_Pin */
  GPIO_InitStruct.Pin = LED_Pin;
  GPIO_InitStruct.Mode = GPIO_MODE_OUTPUT_PP;
  GPIO_InitStruct.Pull = GPIO_NOPULL;
  GPIO_InitStruct.Speed = GPIO_SPEED_FREQ_LOW;
  HAL_GPIO_Init(LED_GPIO_Port, &GPIO_InitStruct);

  /*Configure GPIO pins : F0_Pin F1_Pin F2_Pin F3_Pin */
  GPIO_InitStruct.Pin = F0_Pin|F1_Pin|F2_Pin|F3_Pin;
  GPIO_InitStruct.Mode = GPIO_MODE_IT_FALLING;
  GPIO_InitStruct.Pull = GPIO_PULLUP;
  HAL_GPIO_Init(GPIOA, &GPIO_InitStruct);

  /*Configure GPIO pin : OUT_RCK_Pin */
  GPIO_InitStruct.Pin = OUT_RCK_Pin;
  GPIO_InitStruct.Mode = GPIO_MODE_OUTPUT_PP;
  GPIO_InitStruct.Pull = GPIO_PULLDOWN;
  GPIO_InitStruct.Speed = GPIO_SPEED_FREQ_MEDIUM;
  HAL_GPIO_Init(OUT_RCK_GPIO_Port, &GPIO_InitStruct);

  /*Configure GPIO pin : DISPL_STB_Pin */
  GPIO_InitStruct.Pin = DISPL_STB_Pin;
  GPIO_InitStruct.Mode = GPIO_MODE_OUTPUT_PP;
  GPIO_InitStruct.Pull = GPIO_PULLUP;
  GPIO_InitStruct.Speed = GPIO_SPEED_FREQ_MEDIUM;
  HAL_GPIO_Init(DISPL_STB_GPIO_Port, &GPIO_InitStruct);

  /*Configure GPIO pin : Bluetooth_STATE_Pin */
  GPIO_InitStruct.Pin = Bluetooth_STATE_Pin;
  GPIO_InitStruct.Mode = GPIO_MODE_INPUT;
  GPIO_InitStruct.Pull = GPIO_PULLDOWN;
  HAL_GPIO_Init(Bluetooth_STATE_GPIO_Port, &GPIO_InitStruct);

  /*Configure GPIO pin : DE485_Pin */
  GPIO_InitStruct.Pin = DE485_Pin;
  GPIO_InitStruct.Mode = GPIO_MODE_OUTPUT_PP;
  GPIO_InitStruct.Pull = GPIO_PULLDOWN;
  GPIO_InitStruct.Speed = GPIO_SPEED_FREQ_MEDIUM;
  HAL_GPIO_Init(DE485_GPIO_Port, &GPIO_InitStruct);

  /*Configure GPIO pin : AM2301_Pin */
  GPIO_InitStruct.Pin = AM2301_Pin;
  GPIO_InitStruct.Mode = GPIO_MODE_INPUT;
  GPIO_InitStruct.Pull = GPIO_PULLUP;
  HAL_GPIO_Init(AM2301_GPIO_Port, &GPIO_InitStruct);

  /*Configure GPIO pin : Beeper_Pin */
  GPIO_InitStruct.Pin = Beeper_Pin;
  GPIO_InitStruct.Mode = GPIO_MODE_OUTPUT_PP;
  GPIO_InitStruct.Pull = GPIO_PULLUP;
  GPIO_InitStruct.Speed = GPIO_SPEED_FREQ_LOW;
  HAL_GPIO_Init(Beeper_GPIO_Port, &GPIO_InitStruct);

  /*Configure GPIO pins : Door_Pin OVERHEAT_Pin OneW_2R_Pin OneWR_1_Pin */
  GPIO_InitStruct.Pin = Door_Pin|OVERHEAT_Pin|OneW_2R_Pin|OneWR_1_Pin;
  GPIO_InitStruct.Mode = GPIO_MODE_INPUT;
  GPIO_InitStruct.Pull = GPIO_PULLUP;
  HAL_GPIO_Init(GPIOB, &GPIO_InitStruct);

  /* EXTI interrupt init*/
  HAL_NVIC_SetPriority(EXTI0_IRQn, 0, 0);
  HAL_NVIC_EnableIRQ(EXTI0_IRQn);

  HAL_NVIC_SetPriority(EXTI1_IRQn, 0, 0);
  HAL_NVIC_EnableIRQ(EXTI1_IRQn);

  HAL_NVIC_SetPriority(EXTI2_IRQn, 0, 0);
  HAL_NVIC_EnableIRQ(EXTI2_IRQn);

  HAL_NVIC_SetPriority(EXTI3_IRQn, 0, 0);
  HAL_NVIC_EnableIRQ(EXTI3_IRQn);

}

/* USER CODE BEGIN 4 */
void HAL_ADC_ConvCpltCallback(ADC_HandleTypeDef* hadc){
  if(hadc->Instance == ADC1) flag = 1;
}
void HAL_UART_RxCpltCallback(UART_HandleTypeDef *huart){
  if(huart==&huart1) bluetoothCallback();
  else if(huart==&huart3) rs485Callback(p_ramdata, p_eepdata);
}
/* USER CODE END 4 */

void Error_Handler(void)
{
}

/************************ (C) COPYRIGHT STMicroelectronics *****END OF FILE****/
